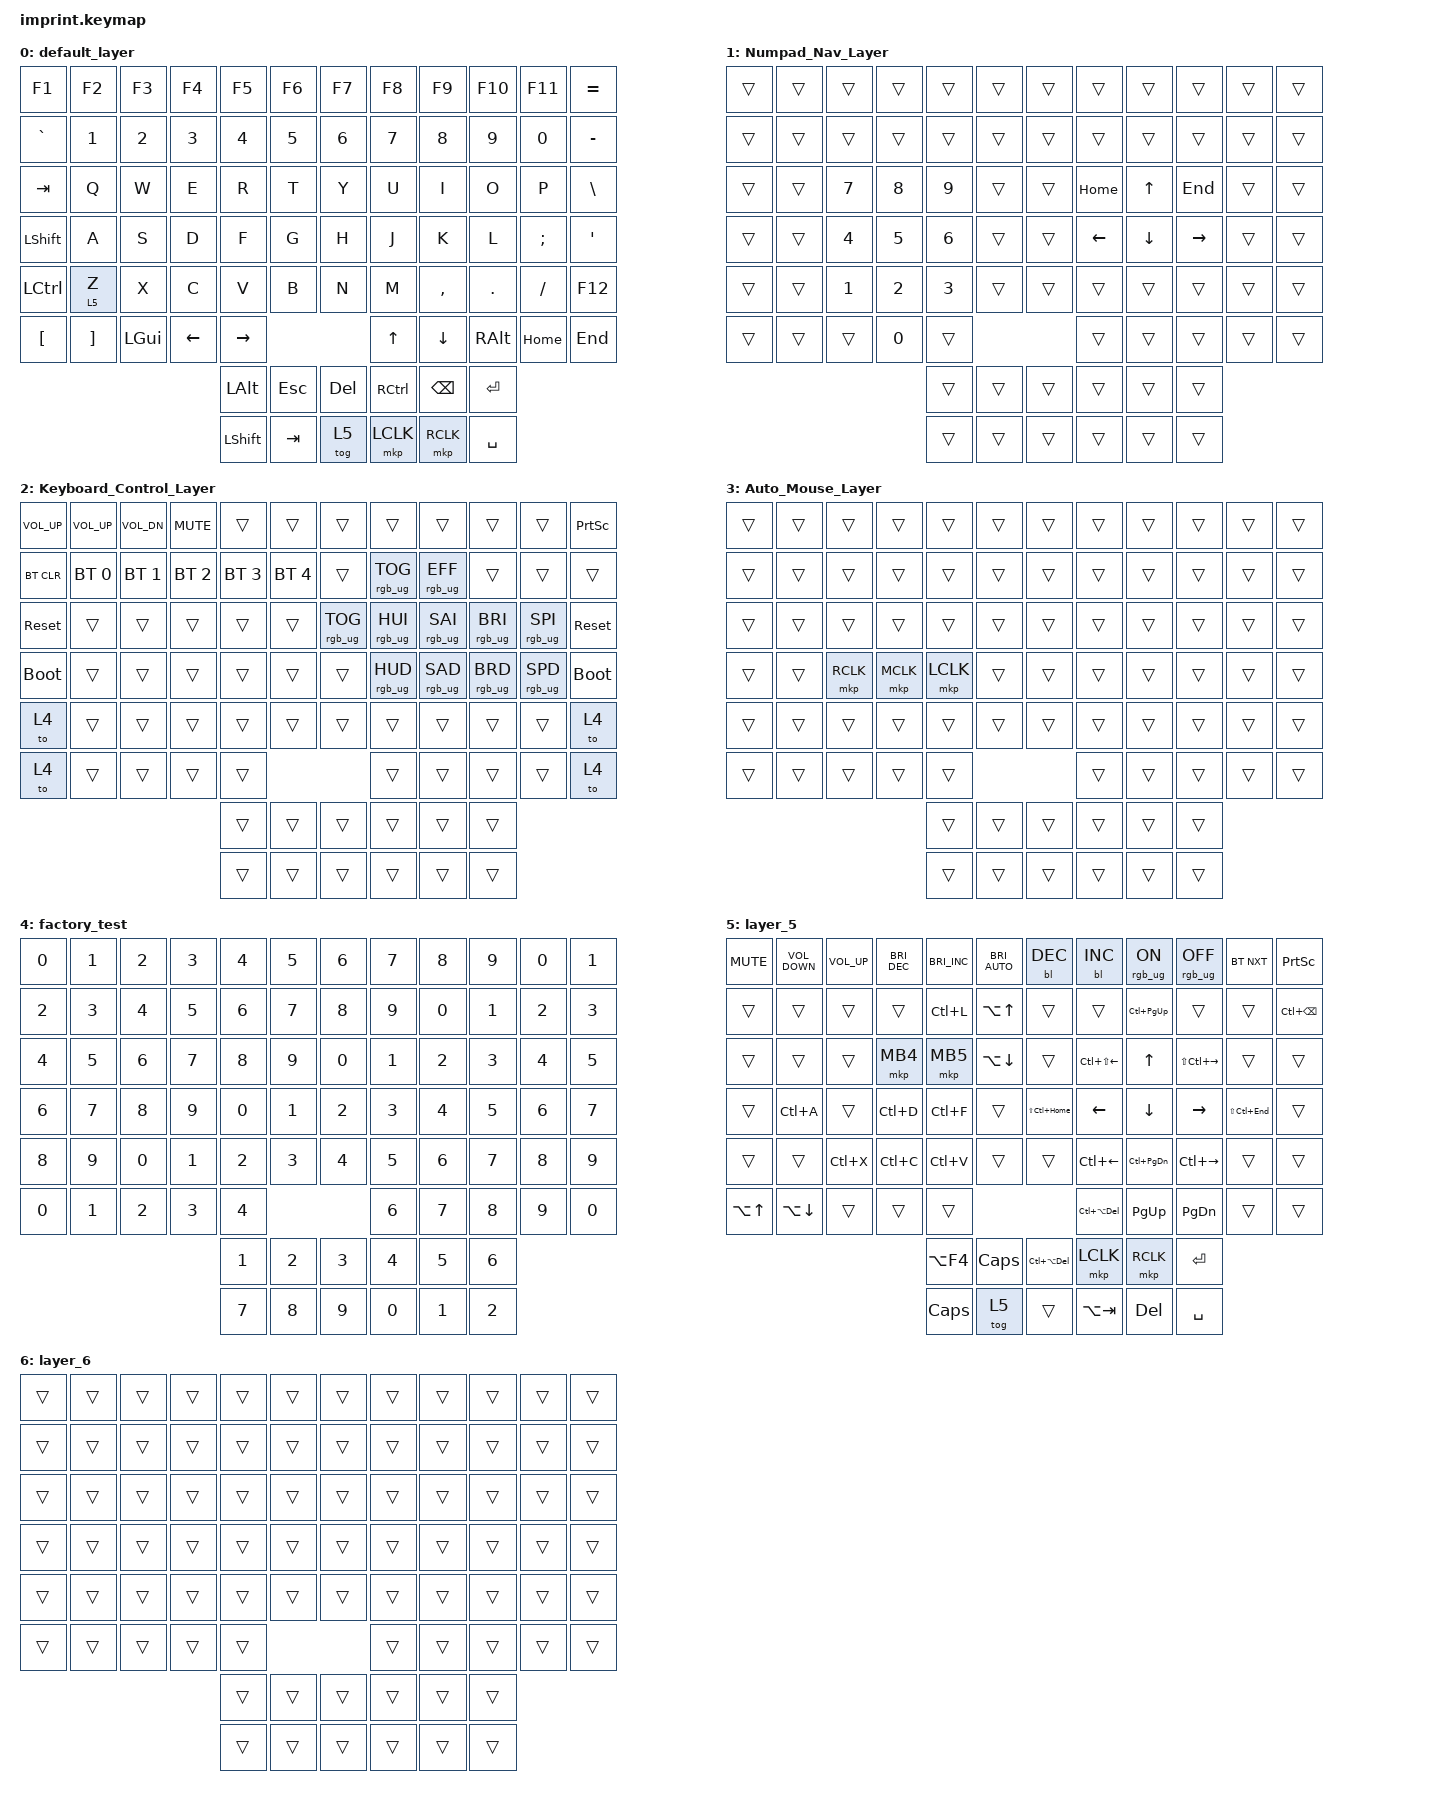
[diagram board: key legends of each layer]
#include <input/processors.dtsi>
#include <dt-bindings/zmk/input_transform.h>
#include <behaviors.dtsi>
#include <dt-bindings/zmk/backlight.h>
#include <dt-bindings/zmk/bt.h>
#include <dt-bindings/zmk/keys.h>
#include <dt-bindings/zmk/pointing.h>
#include <dt-bindings/zmk/rgb.h>

/ {
    chosen { zmk,physical-layout = &physical_layout_imprint_function_row_full_bottom_row; };

    macros {
        SelectLeftWord: SelectLeftWord {
            compatible = "zmk,behavior-macro";
            #binding-cells = <0>;
            bindings = <&kp LCTRL &kp LEFT_SHIFT &kp LEFT>;
            label = "SELECTLEFTWORD";
        };
    };

    keymap {
        compatible = "zmk,keymap";

        default_layer {
            bindings = <
&kp F1            &kp F2             &kp F3    &kp F4    &kp F5           &kp F6                 &kp F7     &kp F8         &kp F9     &kp F10        &kp F11   &kp EQUAL
&kp GRAVE         &kp N1             &kp N2    &kp N3    &kp N4           &kp N5                 &kp N6     &kp N7         &kp N8     &kp N9         &kp N0    &kp MINUS
&kp TAB           &kp Q              &kp W     &kp E     &kp R            &kp T                  &kp Y      &kp U          &kp I      &kp O          &kp P     &kp BSLH
&kp LEFT_SHIFT    &kp A              &kp S     &kp D     &kp F            &kp G                  &kp H      &kp J          &kp K      &kp L          &kp SEMI  &kp SQT
&kp LCTRL         &lt 5 Z            &kp X     &kp C     &kp V            &kp B                  &kp N      &kp M          &kp COMMA  &kp DOT        &kp FSLH  &kp F12
&kp LEFT_BRACKET  &kp RIGHT_BRACKET  &kp LGUI  &kp LEFT  &kp RIGHT_ARROW                                    &kp UP         &kp DOWN   &kp RIGHT_ALT  &kp HOME  &kp END
                                                         &kp LEFT_ALT     &kp ESCAPE  &kp DEL    &kp RCTRL  &kp BACKSPACE  &kp ENTER
                                                         &kp LEFT_SHIFT   &kp TAB     &tog 5     &mkp LCLK  &mkp RCLK      &kp SPACE
            >;
        };

        Numpad_Nav_Layer {
            bindings = <
&trans  &trans  &trans  &trans  &trans  &trans            &trans  &trans    &trans    &trans     &trans  &trans
&trans  &trans  &trans  &trans  &trans  &trans            &trans  &trans    &trans    &trans     &trans  &trans
&trans  &trans  &kp N7  &kp N8  &kp N9  &trans            &trans  &kp HOME  &kp UP    &kp END    &trans  &trans
&trans  &trans  &kp N4  &kp N5  &kp N6  &trans            &trans  &kp LEFT  &kp DOWN  &kp RIGHT  &trans  &trans
&trans  &trans  &kp N1  &kp N2  &kp N3  &trans            &trans  &trans    &trans    &trans     &trans  &trans
&trans  &trans  &trans  &kp N0  &trans                            &trans    &trans    &trans     &trans  &trans
                                &trans  &trans  &trans    &trans  &trans    &trans
                                &trans  &trans  &trans    &trans  &trans    &trans
            >;
        };

        Keyboard_Control_Layer {
            bindings = <
&kp C_VOLUME_UP  &kp C_VOL_UP  &kp C_VOL_DN  &kp C_MUTE    &trans        &trans                  &trans           &trans           &trans           &trans           &trans           &kp PRINTSCREEN
&bt BT_CLR       &bt BT_SEL 0  &bt BT_SEL 1  &bt BT_SEL 2  &bt BT_SEL 3  &bt BT_SEL 4            &trans           &rgb_ug RGB_TOG  &rgb_ug RGB_EFF  &trans           &trans           &trans
&sys_reset       &trans        &trans        &trans        &trans        &trans                  &rgb_ug RGB_TOG  &rgb_ug RGB_HUI  &rgb_ug RGB_SAI  &rgb_ug RGB_BRI  &rgb_ug RGB_SPI  &sys_reset
&bootloader      &trans        &trans        &trans        &trans        &trans                  &trans           &rgb_ug RGB_HUD  &rgb_ug RGB_SAD  &rgb_ug RGB_BRD  &rgb_ug RGB_SPD  &bootloader
&to 4            &trans        &trans        &trans        &trans        &trans                  &trans           &trans           &trans           &trans           &trans           &to 4
&to 4            &trans        &trans        &trans        &trans                                                 &trans           &trans           &trans           &trans           &to 4
                                                           &trans        &trans        &trans    &trans           &trans           &trans
                                                           &trans        &trans        &trans    &trans           &trans           &trans
            >;
        };

        Auto_Mouse_Layer {
            bindings = <
&trans  &trans  &trans     &trans     &trans     &trans            &trans  &trans  &trans  &trans  &trans  &trans
&trans  &trans  &trans     &trans     &trans     &trans            &trans  &trans  &trans  &trans  &trans  &trans
&trans  &trans  &trans     &trans     &trans     &trans            &trans  &trans  &trans  &trans  &trans  &trans
&trans  &trans  &mkp RCLK  &mkp MCLK  &mkp LCLK  &trans            &trans  &trans  &trans  &trans  &trans  &trans
&trans  &trans  &trans     &trans     &trans     &trans            &trans  &trans  &trans  &trans  &trans  &trans
&trans  &trans  &trans     &trans     &trans                               &trans  &trans  &trans  &trans  &trans
                                      &trans     &trans  &trans    &trans  &trans  &trans
                                      &trans     &trans  &trans    &trans  &trans  &trans
            >;
        };

        factory_test {
            bindings = <
&kp N0  &kp N1  &kp N2  &kp N3  &kp N4  &kp N5            &kp N6  &kp N7  &kp N8  &kp N9  &kp N0  &kp N1
&kp N2  &kp N3  &kp N4  &kp N5  &kp N6  &kp N7            &kp N8  &kp N9  &kp N0  &kp N1  &kp N2  &kp N3
&kp N4  &kp N5  &kp N6  &kp N7  &kp N8  &kp N9            &kp N0  &kp N1  &kp N2  &kp N3  &kp N4  &kp N5
&kp N6  &kp N7  &kp N8  &kp N9  &kp N0  &kp N1            &kp N2  &kp N3  &kp N4  &kp N5  &kp N6  &kp N7
&kp N8  &kp N9  &kp N0  &kp N1  &kp N2  &kp N3            &kp N4  &kp N5  &kp N6  &kp N7  &kp N8  &kp N9
&kp N0  &kp N1  &kp N2  &kp N3  &kp N4                            &kp N6  &kp N7  &kp N8  &kp N9  &kp N0
                                &kp N1  &kp N2  &kp N3    &kp N4  &kp N5  &kp N6
                                &kp N7  &kp N8  &kp N9    &kp N0  &kp N1  &kp N2
            >;
        };

        layer_5 {
            bindings = <
&kp C_MUTE        &kp C_VOLUME_DOWN  &kp C_VOLUME_UP  &kp C_BRIGHTNESS_DEC  &kp C_BRIGHTNESS_INC  &kp C_BRIGHTNESS_AUTO                        &bl BL_DEC        &bl BL_INC              &rgb_ug RGB_ON     &rgb_ug RGB_OFF    &bt BT_NXT       &kp PRINTSCREEN
&trans            &trans             &trans           &trans                &kp LC(L)             &kp LA(UP_ARROW)                             &trans            &trans                  &kp LC(PAGE_UP)    &trans             &trans           &kp LC(BACKSPACE)
&trans            &trans             &trans           &mkp MB4              &mkp MB5              &kp LA(DOWN_ARROW)                           &trans            &kp LC(LS(LEFT_ARROW))  &kp UP             &kp LS(LC(RIGHT))  &trans           &trans
&trans            &kp LC(A)          &trans           &kp LC(D)             &kp LC(F)             &trans                                       &kp LS(LC(HOME))  &kp LEFT_ARROW          &kp DOWN_ARROW     &kp RIGHT          &kp LS(LC(END))  &trans
&trans            &trans             &kp LC(X)        &kp LC(C)             &kp LC(V)             &trans                                       &trans            &kp LC(LEFT_ARROW)      &kp LC(PAGE_DOWN)  &kp LC(RIGHT)      &trans           &trans
&kp LA(UP_ARROW)  &kp LA(DOWN)       &trans           &trans                &trans                                                                               &kp LC(LA(DELETE))      &kp PG_UP          &kp PAGE_DOWN      &trans           &trans
                                                                            &kp LA(F4)            &kp CAPS               &kp LC(LA(DELETE))    &mkp LCLK         &mkp RCLK               &kp ENTER
                                                                            &kp CAPS              &tog 5                 &trans                &kp LA(TAB)       &kp DELETE              &kp SPACE
            >;
        };

        layer_6 {
            bindings = <
&trans  &trans  &trans  &trans  &trans  &trans            &trans  &trans  &trans  &trans  &trans  &trans
&trans  &trans  &trans  &trans  &trans  &trans            &trans  &trans  &trans  &trans  &trans  &trans
&trans  &trans  &trans  &trans  &trans  &trans            &trans  &trans  &trans  &trans  &trans  &trans
&trans  &trans  &trans  &trans  &trans  &trans            &trans  &trans  &trans  &trans  &trans  &trans
&trans  &trans  &trans  &trans  &trans  &trans            &trans  &trans  &trans  &trans  &trans  &trans
&trans  &trans  &trans  &trans  &trans                            &trans  &trans  &trans  &trans  &trans
                                &trans  &trans  &trans    &trans  &trans  &trans
                                &trans  &trans  &trans    &trans  &trans  &trans
            >;
        };
    };
};

// right hand trackball configuration
// &trackball_peripheral_listener {
//    input-processors =
//     activate layer 3 within 500ms of the trackball moving
//     <&zip_temp_layer 3 500>;
// };
//left hand trackball configuration

&trackball_central_listener {
    input-processors =
        // multiply sensitivity by 1, divide by 3 (make it slower for scrolling),,,,,,,,,,,,,,,,,,,,,,,,,,,,,,,,,,,
        <&zip_xy_scaler 1 3>,
        // make this trackball output scrolling events by default instead of cursor movement,,,,,,,,,,,,,,,,,,,,,,,,,,,,,,,,,,,
        <&zip_xy_to_scroll_mapper>,
        // invert vertical scrolling so that the view moves in the same direction as the top of the trackball.,,,,,,,,,,,,,,,,,,,,,,,,,,,,,,,,,,,
        <&zip_scroll_transform INPUT_TRANSFORM_Y_INVERT>;
};
